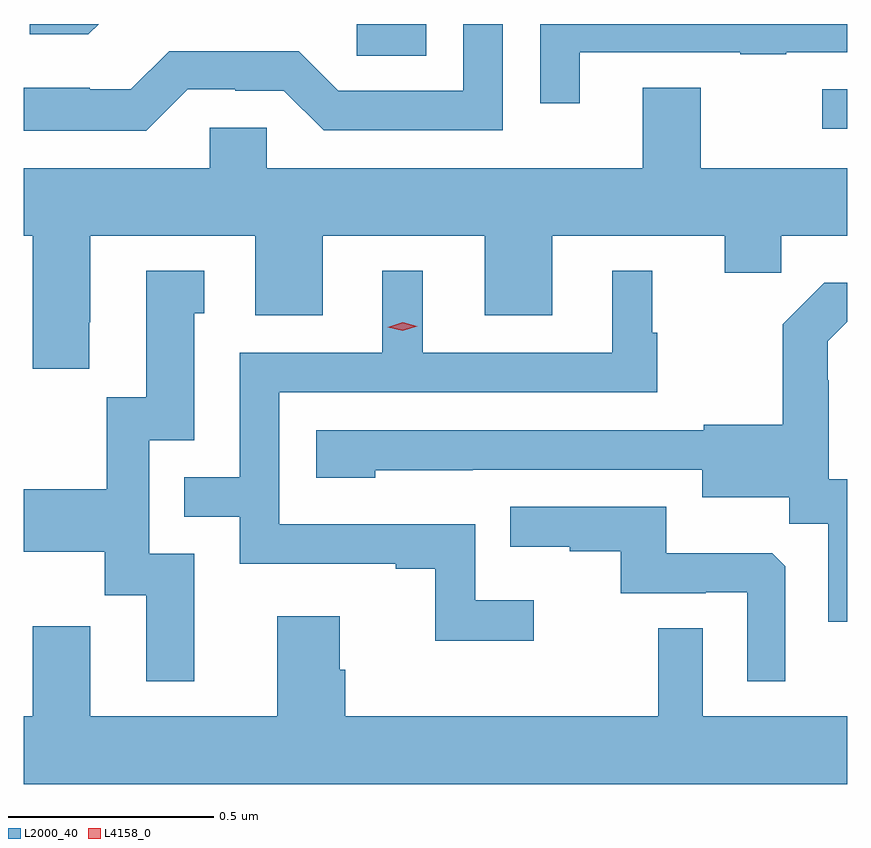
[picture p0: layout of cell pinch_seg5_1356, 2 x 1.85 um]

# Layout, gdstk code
import gdstk
lib = gdstk.Library(unit=1e-6, precision=1e-09)
def R(c, l, rs):  # rectangles x0, y0, x1, y1
    for r in rs: c.add(gdstk.rectangle(r[:2], r[2:], *l))
def P(c, l, *ps):  # polygons
    for p in ps: c.add(gdstk.Polygon(p, *l))
L2000_40 = (2000, 40)
L4158_0 = (4158, 0)

pinch_seg5_1356 = lib.new_cell('pinch_seg5_1356')
R(pinch_seg5_1356, L2000_40, [(355.215,914.295,355.275,914.391), (354.084,914.473,354.252,914.55)])
P(pinch_seg5_1356, L2000_40, [(353.457,914.55),(353.289,914.55),(353.289,914.525),(353.432,914.525)],
  [(354.625,914.481),(355.015,914.481),(355.015,914.476),(355.127,914.476),(355.127,914.481),(355.275,914.481),(355.275,914.55),(354.529,914.55),(354.529,914.358),(354.625,914.358)],
  [(353.673,914.391),(353.789,914.391),(353.789,914.388),(353.907,914.388),(354.003,914.292),(354.438,914.292),(354.438,914.55),(354.342,914.55),(354.342,914.388),(354.039,914.388),(353.943,914.484),(353.628,914.484),(353.535,914.391),(353.435,914.391),(353.435,914.395),(353.275,914.395),(353.275,914.291),(353.573,914.291)],
  [(353.434,913.825),(353.437,913.825),(353.437,914.036),(353.837,914.036),(353.837,913.842),(354.001,913.842),(354.001,914.036),(354.395,914.036),(354.395,913.842),(354.559,913.842),(354.559,914.036),(354.977,914.036),(354.977,913.946),(355.115,913.946),(355.115,914.036),(355.275,914.036),(355.275,914.2),(354.919,914.2),(354.919,914.395),(354.779,914.395),(354.779,914.2),(353.865,914.2),(353.865,914.298),(353.727,914.298),(353.727,914.2),(353.275,914.2),(353.275,914.036),(353.297,914.036),(353.297,913.713),(353.434,913.713)],
  [(354.514,913.15),(354.372,913.15),(354.372,913.335),(353.895,913.335),(353.895,913.656),(354.814,913.656),(354.814,913.8),(354.802,913.8),(354.802,913.951),(354.704,913.951),(354.704,913.752),(354.244,913.752),(354.244,913.951),(354.146,913.951),(354.146,913.752),(353.799,913.752),(353.799,913.449),(353.665,913.449),(353.665,913.353),(353.799,913.353),(353.799,913.239),(354.179,913.239),(354.179,913.227),(354.274,913.227),(354.274,913.052),(354.514,913.052)],
  [(353.689,913.263),(353.58,913.263),(353.58,913.539),(353.689,913.539),(353.689,913.848),(353.713,913.848),(353.713,913.951),(353.573,913.951),(353.573,913.644),(353.477,913.644),(353.477,913.42),(353.275,913.42),(353.275,913.268),(353.472,913.268),(353.472,913.162),(353.573,913.162),(353.573,912.954),(353.689,912.954)],
  [(355.275,913.444),(355.23,913.444),(355.23,913.685),(355.228,913.685),(355.228,913.78),(355.275,913.827),(355.275,913.921),(355.219,913.921),(355.119,913.821),(355.119,913.576),(354.927,913.576),(354.927,913.563),(353.985,913.563),(353.985,913.448),(354.129,913.448),(354.129,913.466),(354.365,913.466),(354.365,913.467),(354.923,913.467),(354.923,913.4),(355.134,913.4),(355.134,913.336),(355.229,913.336),(355.229,913.098),(355.275,913.098)],
  [(355.125,913.233),(355.093,913.265),(354.835,913.265),(354.835,913.377),(354.457,913.377),(354.457,913.28),(354.601,913.28),(354.601,913.269),(354.725,913.269),(354.725,913.167),(354.932,913.167),(354.932,913.17),(355.032,913.17),(355.032,912.953),(355.125,912.953)],
  [(355.275,912.868),(354.924,912.868),(354.924,913.082),(354.816,913.082),(354.816,912.868),(354.056,912.868),(354.056,912.981),(354.043,912.981),(354.043,913.111),(353.891,913.111),(353.891,912.868),(353.437,912.868),(353.437,913.087),(353.297,913.087),(353.297,912.868),(353.275,912.868),(353.275,912.704),(355.275,912.704)])
P(pinch_seg5_1356, L4158_0, [(354.195,913.805),(354.159,913.814),(354.159,913.814),(354.159,913.814),(354.195,913.825),(354.231,913.816),(354.231,913.816),(354.231,913.816)])

lib.write_gds('pinch_seg5_1356.gds')
